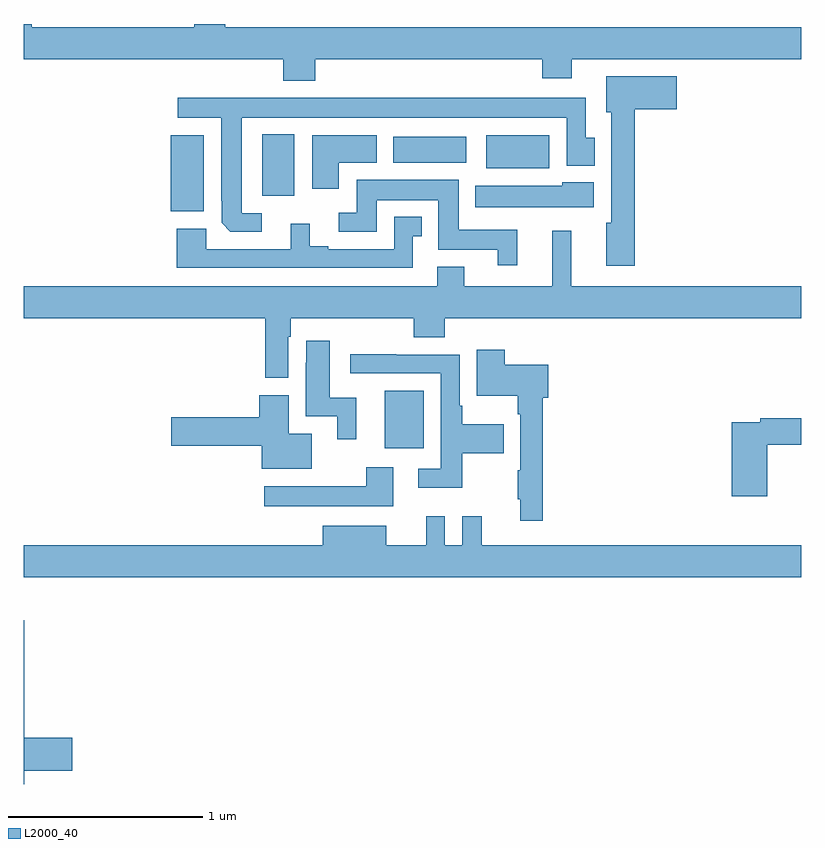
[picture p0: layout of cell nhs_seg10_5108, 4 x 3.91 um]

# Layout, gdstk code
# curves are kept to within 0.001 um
import gdstk
lib = gdstk.Library(unit=1e-6, precision=1e-09)
def R(c, l, rs):  # rectangles x0, y0, x1, y1
    for r in rs: c.add(gdstk.rectangle(r[:2], r[2:], *l))
def P(c, l, *ps):  # polygons
    for p in ps: c.add(gdstk.Polygon(p, *l))
L2000_40 = (2000, 40)

nhs_seg10_5108 = lib.new_cell('nhs_seg10_5108')
R(nhs_seg10_5108, L2000_40, [(408.857,1294.319,409.057,1294.615), (407.756,1295.537,407.926,1295.929), (408.227,1295.616,408.391,1295.932), (409.379,1295.759,409.702,1295.929), (408.902,1295.786,409.276,1295.92)])
P(nhs_seg10_5108, L2000_40, [(408.5,1296.32),(409.667,1296.32),(409.667,1296.221),(409.819,1296.221),(409.819,1296.32),(411,1296.32),(411,1296.484),(408.038,1296.484),(408.038,1296.5),(407.878,1296.5),(407.878,1296.484),(407.041,1296.484),(407.041,1296.5),(407,1296.5),(407,1296.32),(408.335,1296.32),(408.335,1296.209),(408.5,1296.209)],
  [(410.144,1296.062),(410.359,1296.062),(410.359,1296.232),(409.997,1296.232),(409.997,1296.045),(410.021,1296.045),(410.021,1295.478),(409.997,1295.478),(409.997,1295.256),(410.144,1295.256)],
  [(408.226,1295.526),(408.121,1295.526),(408.121,1296.017),(409.794,1296.017),(409.794,1295.772),(409.936,1295.772),(409.936,1295.916),(409.891,1295.916),(409.891,1296.121),(407.793,1296.121),(407.793,1296.017),(408.017,1296.017),(408.018,1295.479),(408.064,1295.433),(408.226,1295.433)],
  [(408.622,1295.786),(408.817,1295.786),(408.817,1295.929),(408.485,1295.929),(408.485,1295.652),(408.622,1295.652)],
  [(409.538,1295.443),(409.237,1295.443),(409.237,1295.698),(408.713,1295.698),(408.713,1295.529),(408.621,1295.529),(408.621,1295.433),(408.817,1295.433),(408.817,1295.594),(409.133,1295.594),(409.133,1295.339),(409.439,1295.339),(409.439,1295.259),(409.538,1295.259)],
  [(409.933,1295.686),(409.77,1295.686),(409.77,1295.668),(409.322,1295.668),(409.322,1295.558),(409.933,1295.558)],
  [(409.002,1295.409),(409.048,1295.409),(409.048,1295.509),(408.906,1295.509),(408.906,1295.343),(408.568,1295.343),(408.568,1295.356),(408.472,1295.356),(408.472,1295.473),(408.374,1295.473),(408.374,1295.343),(407.94,1295.343),(407.94,1295.446),(407.789,1295.446),(407.789,1295.247),(409.002,1295.247)],
  [(408.36,1294.892),(408.375,1294.892),(408.375,1294.988),(409.006,1294.988),(409.006,1294.889),(409.166,1294.889),(409.166,1294.988),(411,1294.988),(411,1295.152),(409.817,1295.152),(409.817,1295.437),(409.718,1295.437),(409.718,1295.152),(409.267,1295.152),(409.267,1295.251),(409.127,1295.251),(409.127,1295.152),(407,1295.152),(407,1294.988),(408.244,1294.988),(408.244,1294.68),(408.36,1294.68)],
  [(408.712,1294.578),(408.574,1294.578),(408.574,1294.87),(408.453,1294.87),(408.453,1294.757),(408.452,1294.757),(408.452,1294.482),(408.614,1294.482),(408.614,1294.365),(408.712,1294.365)],
  [(409.67,1294.577),(409.697,1294.577),(409.697,1294.747),(409.475,1294.747),(409.475,1294.825),(409.331,1294.825),(409.331,1294.589),(409.542,1294.589),(409.542,1294.493),(409.554,1294.493),(409.554,1294.205),(409.542,1294.205),(409.542,1294.057),(409.553,1294.057),(409.553,1293.945),(409.67,1293.945)],
  [(409.255,1294.294),(409.469,1294.294),(409.469,1294.441),(409.255,1294.441),(409.255,1294.537),(409.242,1294.537),(409.242,1294.8),(408.917,1294.8),(408.917,1294.802),(408.681,1294.802),(408.681,1294.704),(409.146,1294.704),(409.146,1294.212),(409.029,1294.212),(409.029,1294.115),(409.255,1294.115)],
  [(408.481,1294.393),(408.364,1294.393),(408.364,1294.591),(408.212,1294.591),(408.212,1294.478),(407.76,1294.478),(407.76,1294.331),(408.224,1294.331),(408.224,1294.214),(408.481,1294.214)],
  [(410.825,1294.336),(411,1294.336),(411,1294.472),(410.788,1294.472),(410.788,1294.452),(410.642,1294.452),(410.642,1294.071),(410.825,1294.071)],
  [(408.901,1294.222),(408.761,1294.222),(408.761,1294.123),(408.237,1294.123),(408.237,1294.019),(408.901,1294.019)],
  [(411,1293.82),(409.355,1293.82),(409.355,1293.97),(409.257,1293.97),(409.257,1293.82),(409.167,1293.82),(409.167,1293.97),(409.07,1293.97),(409.07,1293.82),(408.865,1293.82),(408.865,1293.919),(408.539,1293.919),(408.539,1293.82),(407,1293.82),(407,1293.656),(411,1293.656)],
  [(407.003,1292.66),(407.251,1292.66),(407.251,1292.831),(407.003,1292.831),(407.003,1293.435),(407,1293.435),(407,1292.592),(407.003,1292.592)])

lib.write_gds('nhs_seg10_5108.gds')
